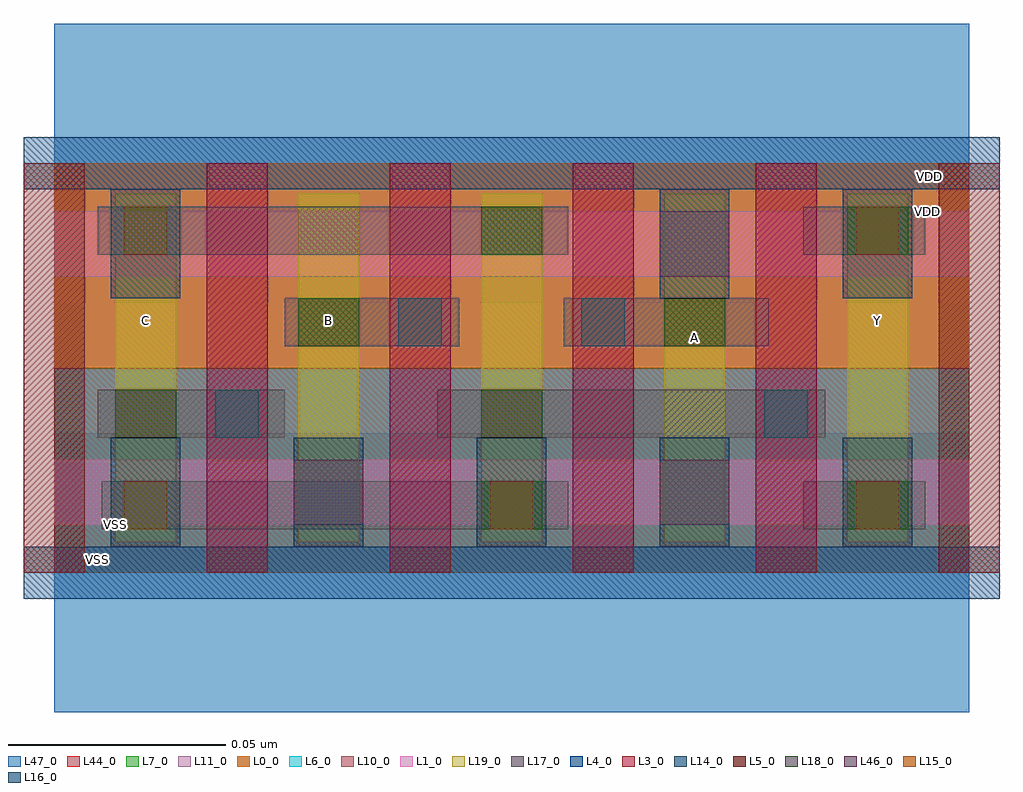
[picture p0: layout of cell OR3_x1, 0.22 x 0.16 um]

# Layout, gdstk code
import gdstk
lib = gdstk.Library(unit=1e-6, precision=5e-10)
def R(c, l, rs):  # rectangles x0, y0, x1, y1
    for r in rs: c.add(gdstk.rectangle(r[:2], r[2:], *l))
def A(c, l, x, y, w, h, nx, ny, dx, dy):  # array of equal rectangles
    R(c, l, [(x+i*dx, y+j*dy, x+i*dx+w, y+j*dy+h) for i in range(nx) for j in range(ny)])
L0_0 = (0, 0)
L1_0 = (1, 0)
L3_0 = (3, 0)
L4_0 = (4, 0)
L5_0 = (5, 0)
L6_0 = (6, 0)
L7_0 = (7, 0)
L10_0 = (10, 0)
L11_0 = (11, 0)
L14_0 = (14, 0)
L15_0 = (15, 0)
L16_0 = (16, 0)
L17_0 = (17, 0)
L18_0 = (18, 0)
L19_0 = (19, 0)
L44_0 = (44, 0)
L46_0 = (46, 0)
L47_0 = (47, 0)

or3_x1 = lib.new_cell('OR3_x1')
R(or3_x1, L0_0, [(0,0.047,0.21,0.094)])
R(or3_x1, L1_0, [(0,0.011,0.21,0.026), (0,0.068,0.21,0.083)])
A(or3_x1, L3_0, 0.035, 0, 0.014, 0.094, 4, 1, 0.042, 0)
R(or3_x1, L4_0, [(-0.007,-0.006,0.217,0.006), (-0.007,0.088,0.217,0.1)])
R(or3_x1, L5_0, [(-0.007,0,0.007,0.094), (0.203,0,0.217,0.094)])
R(or3_x1, L6_0, [(0,0,0.21,0.047)])
R(or3_x1, L7_0, [(0,0.047,0.21,0.094)])
R(or3_x1, L10_0, [(0,0,0.21,0.047)])
R(or3_x1, L11_0, [(0,0.047,0.21,0.094)])
A(or3_x1, L14_0, 0.013, 0.006, 0.016, 0.025, 5, 1, 0.042, 0)
R(or3_x1, L14_0, [(0.013,0.063,0.029,0.088), (0.139,0.063,0.155,0.088), (0.181,0.063,0.197,0.088)])
A(or3_x1, L15_0, 0.016, 0.01, 0.01, 0.011, 3, 1, 0.084, 0)
R(or3_x1, L15_0, [(0.016,0.073,0.026,0.084), (0.184,0.073,0.194,0.084)])
R(or3_x1, L16_0, [(0.037,0.031,0.047,0.042), (0.163,0.031,0.173,0.042), (0.079,0.052,0.089,0.063), (0.121,0.052,0.131,0.063)])
R(or3_x1, L17_0, [(0.011,0.01,0.118,0.021), (0.172,0.01,0.2,0.021), (0.01,0.031,0.053,0.042), (0.088,0.031,0.177,0.042), (0.053,0.052,0.093,0.063), (0.117,0.052,0.164,0.063), (0.01,0.073,0.118,0.084), (0.172,0.073,0.2,0.084)])
R(or3_x1, L18_0, [(0.098,0.01,0.112,0.021), (0.182,0.01,0.196,0.021), (0.014,0.031,0.028,0.042), (0.098,0.031,0.112,0.042), (0.056,0.052,0.07,0.063), (0.14,0.052,0.154,0.063), (0.098,0.073,0.112,0.084), (0.182,0.073,0.196,0.084)])
A(or3_x1, L19_0, 0.014, 0.007, 0.014, 0.08, 5, 1, 0.042, 0)
R(or3_x1, L44_0, [(0,0,0.21,0.094)])
R(or3_x1, L46_0, [(0.055,0.011,0.071,0.026), (0.139,0.011,0.155,0.026), (0.139,0.068,0.155,0.083)])
R(or3_x1, L47_0, [(0,-0.032,0.21,0.032), (0,0.062,0.21,0.126)])
or3_x1.add(gdstk.Label('VSS', (0.01,0.003), layer=54, texttype=2))
or3_x1.add(gdstk.Label('B', (0.063,0.058), layer=19, texttype=2))
or3_x1.add(gdstk.Label('Y', (0.189,0.058), layer=19, texttype=2))
or3_x1.add(gdstk.Label('C', (0.021,0.058), layer=19, texttype=2))
or3_x1.add(gdstk.Label('A', (0.147,0.054), layer=19, texttype=2))
or3_x1.add(gdstk.Label('VDD', (0.201,0.091), layer=0, texttype=2))
or3_x1.add(gdstk.Label('VSS', (0.014,0.011), layer=47, texttype=2))
or3_x1.add(gdstk.Label('VDD', (0.2005,0.083), layer=47, texttype=2))

lib.write_gds('OR3_x1.gds')
